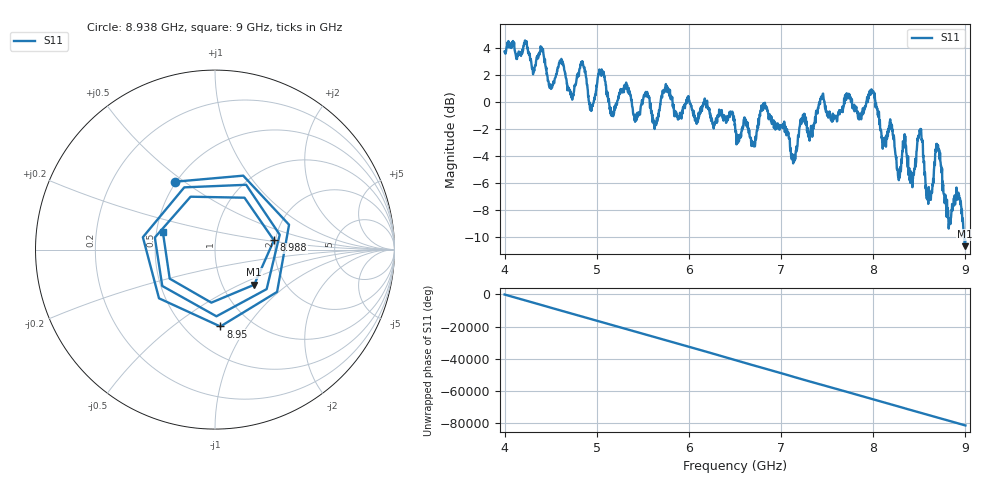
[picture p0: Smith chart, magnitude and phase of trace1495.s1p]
! Created with skrf 1.8.0 (http://scikit-rf.org).
# Hz S RI R 50.0
!freq ReS11 ImS11
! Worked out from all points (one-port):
!   1601 points, 4 GHz to 9 GHz, reference 50 ohm
!   lowest |S11| = -10.7 dB at 8.991 GHz (marker M1), VSWR 1.83, Z = 70.4 - j30.2 ohm
!   |S11| at or under -10 dB: 8.989188 GHz to end of sweep
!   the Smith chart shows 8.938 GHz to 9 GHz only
!   S11 on the Smith chart (normalised r, x): 8.938 GHz: 0.49, +0.46; 8.95 GHz: 0.73, -0.76; 8.988 GHz: 1.96, +0.23; 9 GHz: 0.54, +0.12
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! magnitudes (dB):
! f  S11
! 4 GHz  3.7
! 4.503 GHz  1.0
! 4.625 GHz  3.0
! 4.728 GHz  0.3
! 4.85 GHz  2.8
! 4.938 GHz  -0.4
! 5.044 GHz  2.3
! 5.162 GHz  -0.7
! 5.25 GHz  0.8
! 5.875 GHz  -1.1
! 6.5 GHz  -1.6
! 6.703 GHz  -3.3
! 6.825 GHz  0.0
! 7.125 GHz  -4.2
! 7.434 GHz  0.4
! 7.75 GHz  0.3
! 7.994 GHz  0.8
! 8.275 GHz  -5.6
! 8.375 GHz  -4.8
! 8.512 GHz  -2.0
! 8.6 GHz  -6.8
! 8.7 GHz  -3.3
! 8.819 GHz  -9.4
! 8.938 GHz  -7.2
! 8.95 GHz  -7.3
! 8.988 GHz  -9.6
! 8.991 GHz  -10.7
! 9 GHz  -10.3
